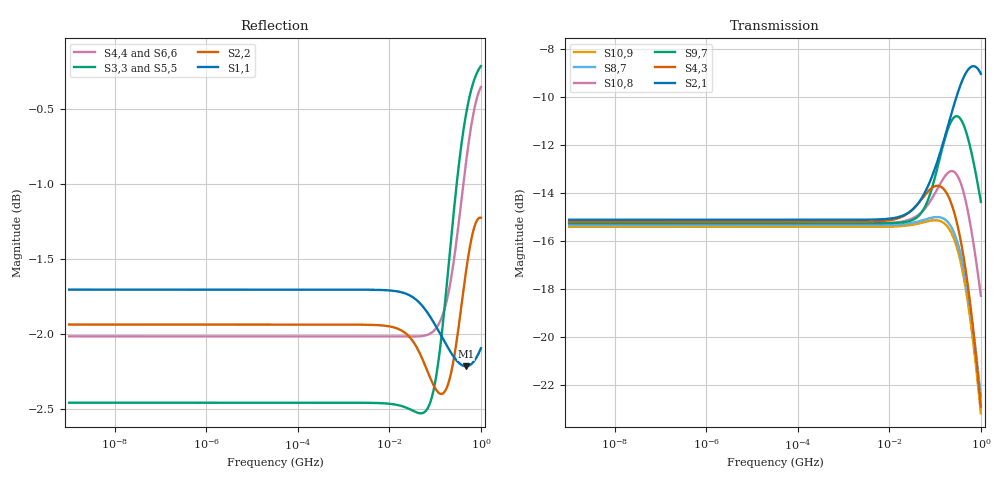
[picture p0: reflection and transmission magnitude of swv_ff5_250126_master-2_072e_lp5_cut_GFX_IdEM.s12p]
! Touchstone data
! Created: 18-Apr-2025 by IdEM 2023 (2023.0.0)
! COMMENTS
!  Touchstone file exported from Ansys Full-Wave Spice
!  Project: 0001_PSI_S-parameter_Sweep
!  Design: unknown
!  Creation time: Thu Apr 17 16:39:10 2025
!  Notes: ! Touchstone(R) file created by SIwave 2025 R1
!  : ! Touchstone(R) file created on Thu Apr 17 16:39:10 2025
!  Modal data exported
!  Port[1] = PORT_1_DIE1_VDDCR_GFX_Group_DIE1_VSS_Group
!  Port[2] = PORT_2_BGA1_VDDCR_GFX_Group_BGA1_VSS_Group
!  Port[3] = VDDCR_GFX_C8_2
!  Port[4] = VDDCR_GFX_C12_2
!  Port[5] = VDDCR_GFX_C42_2
!  Port[6] = VDDCR_GFX_C43_2
!  Port[7] = VDDCR_GFX_C44_1
!  Port[8] = VDDCR_GFX_C45_2
!  Port[9] = VDDCR_GFX_C46_1
!  Port[10] = VDDCR_GFX_C47_2
!  Port[11] = VDDCR_GFX_C92_1
!  Port[12] = VDDCR_GFX_C128_2
! Options Used in IdEM Flow
! Fitting Options !
! Bandwidth: 1.0000e+09 Hz
! Order: [2 2 4]
! SplitType: none
! tol: 1.0000e-03
! DC Point: enforced
! Passivity Options !
! Alg: SOC+HAM
!  Max SOC it: 200
!  Max HAM it: 50
! Freq sampling: adaptive
! DC Point: enforced
! Optimization method: Data based
# Hz S MA R 0.1
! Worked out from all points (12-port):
!   420 points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, 1 Hz to 1 GHz, reference 0.1 ohm
!   strongest paths, dB at 1 Hz, 3.687 kHz, 11.66 MHz, 482.9 MHz, 1 GHz:
!     S2,1: -15.1, -15.1, -15.1, -9.0, -9.0
!     S4,3: -15.2, -15.2, -15.1, -17.4, -22.9
!     S9,7: -15.3, -15.3, -15.2, -11.5, -14.4
!     S10,8: -15.3, -15.3, -15.2, -14.5, -18.3
!     S8,7: -15.3, -15.3, -15.3, -17.8, -22.5
!     S10,9: -15.4, -15.4, -15.4, -18.2, -23.2
!   lowest |S11| = -2.2 dB at 472.9 MHz (marker M1), VSWR 7.88, Z = 0.0141 + j0.0328 ohm
!   |S11| at or under -10 dB: nowhere
